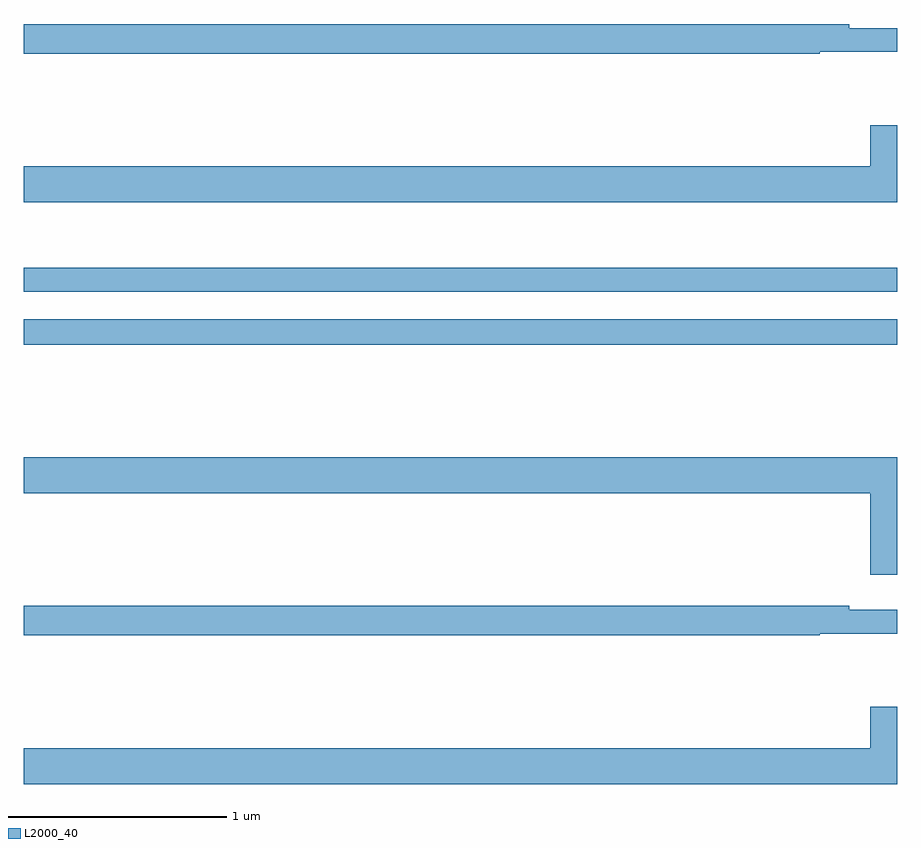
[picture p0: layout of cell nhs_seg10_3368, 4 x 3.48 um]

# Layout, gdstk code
import gdstk
lib = gdstk.Library(unit=1e-6, precision=1e-09)
def R(c, l, rs):  # rectangles x0, y0, x1, y1
    for r in rs: c.add(gdstk.rectangle(r[:2], r[2:], *l))
def P(c, l, *ps):  # polygons
    for p in ps: c.add(gdstk.Polygon(p, *l))
L2000_40 = (2000, 40)

nhs_seg10_3368 = lib.new_cell('nhs_seg10_3368')
R(nhs_seg10_3368, L2000_40, [(293,1316.98,297,1317.096), (293,1317.222,297,1317.331)])
P(nhs_seg10_3368, L2000_40, [(296.645,1318.32),(297,1318.32),(297,1318.429),(296.78,1318.429),(296.78,1318.448),(293,1318.448),(293,1318.312),(296.645,1318.312)],
  [(297,1317.985),(296.876,1317.985),(296.876,1317.796),(293,1317.796),(293,1317.632),(297,1317.632)],
  [(297,1316.464),(293,1316.464),(293,1316.3),(296.876,1316.3),(296.876,1315.926),(297,1315.926)],
  [(296.645,1315.656),(297,1315.656),(297,1315.765),(296.78,1315.765),(296.78,1315.784),(293,1315.784),(293,1315.648),(296.645,1315.648)],
  [(297,1315.321),(296.876,1315.321),(296.876,1315.132),(293,1315.132),(293,1314.968),(297,1314.968)])

lib.write_gds('nhs_seg10_3368.gds')
